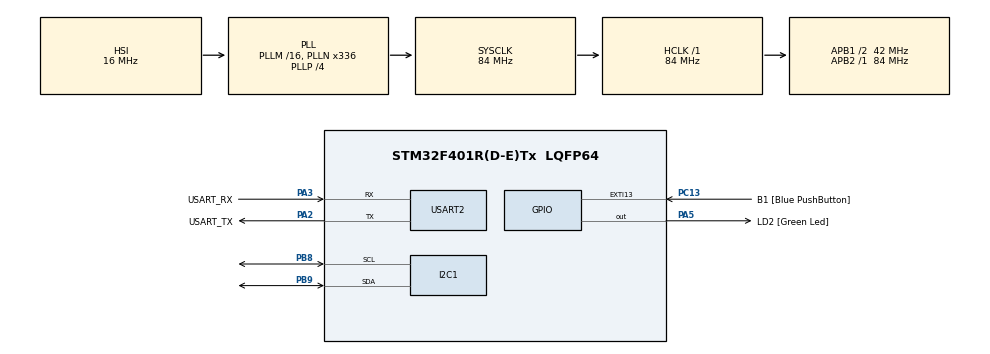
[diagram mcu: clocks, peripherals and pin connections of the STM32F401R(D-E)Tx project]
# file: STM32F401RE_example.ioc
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I2C1.I2C_Mode=I2C_Fast
Mcu.Family=STM32F4
Mcu.Name=STM32F401R(D-E)Tx
Mcu.Package=LQFP64
NVIC.PriorityGroup=NVIC_PRIORITYGROUP_0
PA13.GPIO_Label=TMS
PA13.Mode=Serial_Wire
PA13.Signal=SYS_JTMS-SWDIO
PA14.GPIO_Label=TCK
PA14.Mode=Serial_Wire
PA14.Signal=SYS_JTCK-SWCLK
PA2.GPIO_Label=USART_TX
PA2.GPIO_Mode=GPIO_MODE_AF_PP
PA2.GPIO_PuPd=GPIO_NOPULL
PA2.GPIO_Speed=GPIO_SPEED_FREQ_LOW
PA2.Mode=Asynchronous
PA2.Signal=USART2_TX
PA3.GPIO_Label=USART_RX
PA3.GPIO_Mode=GPIO_MODE_AF_PP
PA3.GPIO_PuPd=GPIO_NOPULL
PA3.GPIO_Speed=GPIO_SPEED_FREQ_LOW
PA3.Mode=Asynchronous
PA3.Signal=USART2_RX
PA5.GPIO_Label=LD2 [Green Led]
PA5.GPIO_Mode=GPIO_MODE_OUTPUT_PP
PA5.GPIO_PuPd=GPIO_NOPULL
PA5.GPIO_Speed=GPIO_SPEED_FREQ_LOW
PA5.Signal=GPIO_Output
PB3.GPIO_Label=SWO
PB3.Signal=SYS_JTDO-SWO
PB8.Mode=I2C
PB8.Signal=I2C1_SCL
PB9.Mode=I2C
PB9.Signal=I2C1_SDA
PC13-ANTI_TAMP.GPIO_Label=B1 [Blue PushButton]
PC13-ANTI_TAMP.GPIO_ModeDefaultEXTI=GPIO_MODE_IT_FALLING
PC13-ANTI_TAMP.GPIO_PuPd=GPIO_NOPULL
PC13-ANTI_TAMP.Signal=GPXTI13
PC14-OSC32_IN.Mode=LSE-External-Oscillator
PC14-OSC32_IN.Signal=RCC_OSC32_IN
PC15-OSC32_OUT.Mode=LSE-External-Oscillator
PC15-OSC32_OUT.Signal=RCC_OSC32_OUT
PH0\ -\ OSC_IN.Mode=HSE-External-Clock-Source
PH0\ -\ OSC_IN.Signal=RCC_OSC_IN
PH1\ -\ OSC_OUT.Mode=HSE-External-Clock-Source
PH1\ -\ OSC_OUT.Signal=RCC_OSC_OUT
ProjectManager.HeapSize=0x200
ProjectManager.StackSize=0x400
ProjectManager.TargetToolchain=SW4STM32
RCC.48MHZClocksFreq_Value=48000000
RCC.AHBFreq_Value=84000000
RCC.APB1CLKDivider=RCC_HCLK_DIV2
RCC.APB1Freq_Value=42000000
RCC.APB1TimFreq_Value=84000000
RCC.APB2Freq_Value=84000000
RCC.APB2TimFreq_Value=84000000
RCC.CortexFreq_Value=84000000
RCC.HCLKFreq_Value=84000000
RCC.HSE_VALUE=8000000
RCC.HSI_VALUE=16000000
RCC.PLLN=336
RCC.PLLP=RCC_PLLP_DIV4
RCC.PLLQ=7
RCC.SYSCLKFreq_VALUE=84000000
RCC.SYSCLKSource=RCC_SYSCLKSOURCE_PLLCLK
RCC.VCOOutputFreq_Value=336000000
USART2.VirtualMode=VM_ASYNC
board=NUCLEO-F401RE

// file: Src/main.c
/* USER CODE BEGIN Header */
/**
  ******************************************************************************
  * @file           : main.c
  * @brief          : Main program body
  ******************************************************************************
  * @attention
  *
  * <h2><center>&copy; Copyright (c) 2020 STMicroelectronics.
  * All rights reserved.</center></h2>
  *
  * This software component is licensed by ST under BSD 3-Clause license,
  * the "License"; You may not use this file except in compliance with the
  * License. You may obtain a copy of the License at:
  *                        opensource.org/licenses/BSD-3-Clause
  *
  ******************************************************************************
  */
/* USER CODE END Header */
#include "main.h"

/* USER CODE BEGIN Includes */
#include "gifs.h"
#include "ssd1306.h"
#include "fonts.h"
#include "bitmaps.h"

/* USER CODE END Includes */

I2C_HandleTypeDef hi2c1;

UART_HandleTypeDef huart2;

void SystemClock_Config(void);
static void MX_GPIO_Init(void);
static void MX_I2C1_Init(void);
static void MX_USART2_UART_Init(void);

int main(void)
{

  /* MCU Configuration--------------------------------------------------------*/

  /* Reset of all peripherals, Initializes the Flash interface and the Systick. */
  HAL_Init();

  /* Configure the system clock */
  SystemClock_Config();

  /* Initialize all configured peripherals */
  MX_GPIO_Init();
  MX_I2C1_Init();
  MX_USART2_UART_Init();
  /* USER CODE BEGIN 2 */
  SSD1306_Init();

  /* USER CODE END 2 */

  /* Infinite loop */
  /* USER CODE BEGIN WHILE */
  while (1)
  {
	SSD1306_Clear();
	SSD1306_GotoXY (0,0);
	SSD1306_Puts ("GIF", &Font_11x18, 1);
	SSD1306_GotoXY (10, 30);
	SSD1306_Puts ("API!", &Font_11x18, 1);
	SSD1306_UpdateScreen();
	HAL_Delay(2000);
	SSD1306_ShowGif(12, horsegif1, horsegif2, horsegif3, horsegif4, horsegif5, horsegif6, horsegif7, horsegif8, horsegif9, horsegif10, horsegif11, horsegif12);
	SSD1306_ShowGif(12, horsegif1, horsegif2, horsegif3, horsegif4, horsegif5, horsegif6, horsegif7, horsegif8, horsegif9, horsegif10, horsegif11, horsegif12);
	SSD1306_ShowGif(12, horsegif1, horsegif2, horsegif3, horsegif4, horsegif5, horsegif6, horsegif7, horsegif8, horsegif9, horsegif10, horsegif11, horsegif12);
	SSD1306_ShowGif(12, horsegif1, horsegif2, horsegif3, horsegif4, horsegif5, horsegif6, horsegif7, horsegif8, horsegif9, horsegif10, horsegif11, horsegif12);
	SSD1306_ShowGif(12, horsegif1, horsegif2, horsegif3, horsegif4, horsegif5, horsegif6, horsegif7, horsegif8, horsegif9, horsegif10, horsegif11, horsegif12);

	SSD1306_GotoXY (0,0);
	SSD1306_Puts ("Counter", &Font_11x18, 1);
	SSD1306_GotoXY (10, 30);
	SSD1306_Puts ("API!", &Font_11x18, 1);
	SSD1306_UpdateScreen();
	HAL_Delay(2000);
	SSD1306_Counter(5);

	SSD1306_Clear();
	SSD1306_GotoXY (0,0);
	SSD1306_Puts ("printf", &Font_11x18, 1);
	SSD1306_GotoXY (10, 30);
	SSD1306_Puts ("API!", &Font_11x18, 1);
	SSD1306_UpdateScreen();
	HAL_Delay(2000);
	SSD1306_Clear();
	for (uint8_t i = 0; i < 5; i++)
	{
		SSD1306_Println("var1 = %i", i);
		HAL_Delay(1000);
		SSD1306_Println("var2 = %d", i*3);
		HAL_Delay(1000);
		SSD1306_Println("var3 = %i", i*4);
		HAL_Delay(1000);
	}

	SSD1306_Clear();
	SSD1306_GotoXY (0,0);
	SSD1306_Puts ("Show BMP", &Font_11x18, 1);
	SSD1306_GotoXY (10, 30);
	SSD1306_Puts ("API!", &Font_11x18, 1);
	SSD1306_UpdateScreen();
	HAL_Delay(2000);
	SSD1306_ShowBitmap(beach);
	HAL_Delay(4000);
	/* USER CODE END WHILE */

  }
}

void SystemClock_Config(void)
{
  RCC_OscInitTypeDef RCC_OscInitStruct = {0};
  RCC_ClkInitTypeDef RCC_ClkInitStruct = {0};

  /** Configure the main internal regulator output voltage
  */
  __HAL_RCC_PWR_CLK_ENABLE();
  __HAL_PWR_VOLTAGESCALING_CONFIG(PWR_REGULATOR_VOLTAGE_SCALE2);
  /** Initializes the RCC Oscillators according to the specified parameters
  * in the RCC_OscInitTypeDef structure.
  */
  RCC_OscInitStruct.OscillatorType = RCC_OSCILLATORTYPE_HSI;
  RCC_OscInitStruct.HSIState = RCC_HSI_ON;
  RCC_OscInitStruct.HSICalibrationValue = RCC_HSICALIBRATION_DEFAULT;
  RCC_OscInitStruct.PLL.PLLState = RCC_PLL_ON;
  RCC_OscInitStruct.PLL.PLLSource = RCC_PLLSOURCE_HSI;
  RCC_OscInitStruct.PLL.PLLM = 16;
  RCC_OscInitStruct.PLL.PLLN = 336;
  RCC_OscInitStruct.PLL.PLLP = RCC_PLLP_DIV4;
  RCC_OscInitStruct.PLL.PLLQ = 7;
  if (HAL_RCC_OscConfig(&RCC_OscInitStruct) != HAL_OK)
  {
    Error_Handler();
  }
  /** Initializes the CPU, AHB and APB buses clocks
  */
  RCC_ClkInitStruct.ClockType = RCC_CLOCKTYPE_HCLK|RCC_CLOCKTYPE_SYSCLK
                              |RCC_CLOCKTYPE_PCLK1|RCC_CLOCKTYPE_PCLK2;
  RCC_ClkInitStruct.SYSCLKSource = RCC_SYSCLKSOURCE_PLLCLK;
  RCC_ClkInitStruct.AHBCLKDivider = RCC_SYSCLK_DIV1;
  RCC_ClkInitStruct.APB1CLKDivider = RCC_HCLK_DIV2;
  RCC_ClkInitStruct.APB2CLKDivider = RCC_HCLK_DIV1;

  if (HAL_RCC_ClockConfig(&RCC_ClkInitStruct, FLASH_LATENCY_2) != HAL_OK)
  {
    Error_Handler();
  }
}

static void MX_I2C1_Init(void)
{

  hi2c1.Instance = I2C1;
  hi2c1.Init.ClockSpeed = 400000;
  hi2c1.Init.DutyCycle = I2C_DUTYCYCLE_2;
  hi2c1.Init.OwnAddress1 = 0;
  hi2c1.Init.AddressingMode = I2C_ADDRESSINGMODE_7BIT;
  hi2c1.Init.DualAddressMode = I2C_DUALADDRESS_DISABLE;
  hi2c1.Init.OwnAddress2 = 0;
  hi2c1.Init.GeneralCallMode = I2C_GENERALCALL_DISABLE;
  hi2c1.Init.NoStretchMode = I2C_NOSTRETCH_DISABLE;
  if (HAL_I2C_Init(&hi2c1) != HAL_OK)
  {
    Error_Handler();
  }

}

static void MX_USART2_UART_Init(void)
{

  huart2.Instance = USART2;
  huart2.Init.BaudRate = 115200;
  huart2.Init.WordLength = UART_WORDLENGTH_8B;
  huart2.Init.StopBits = UART_STOPBITS_1;
  huart2.Init.Parity = UART_PARITY_NONE;
  huart2.Init.Mode = UART_MODE_TX_RX;
  huart2.Init.HwFlowCtl = UART_HWCONTROL_NONE;
  huart2.Init.OverSampling = UART_OVERSAMPLING_16;
  if (HAL_UART_Init(&huart2) != HAL_OK)
  {
    Error_Handler();
  }

}

static void MX_GPIO_Init(void)
{
  GPIO_InitTypeDef GPIO_InitStruct = {0};

  /* GPIO Ports Clock Enable */
  __HAL_RCC_GPIOC_CLK_ENABLE();
  __HAL_RCC_GPIOH_CLK_ENABLE();
  __HAL_RCC_GPIOA_CLK_ENABLE();
  __HAL_RCC_GPIOB_CLK_ENABLE();

  /*Configure GPIO pin Output Level */
  HAL_GPIO_WritePin(LD2_GPIO_Port, LD2_Pin, GPIO_PIN_RESET);

  /*Configure GPIO pin : B1_Pin */
  GPIO_InitStruct.Pin = B1_Pin;
  GPIO_InitStruct.Mode = GPIO_MODE_IT_FALLING;
  GPIO_InitStruct.Pull = GPIO_NOPULL;
  HAL_GPIO_Init(B1_GPIO_Port, &GPIO_InitStruct);

  /*Configure GPIO pin : LD2_Pin */
  GPIO_InitStruct.Pin = LD2_Pin;
  GPIO_InitStruct.Mode = GPIO_MODE_OUTPUT_PP;
  GPIO_InitStruct.Pull = GPIO_NOPULL;
  GPIO_InitStruct.Speed = GPIO_SPEED_FREQ_LOW;
  HAL_GPIO_Init(LD2_GPIO_Port, &GPIO_InitStruct);

}

void Error_Handler(void)
{
}

/************************ (C) COPYRIGHT STMicroelectronics *****END OF FILE****/
